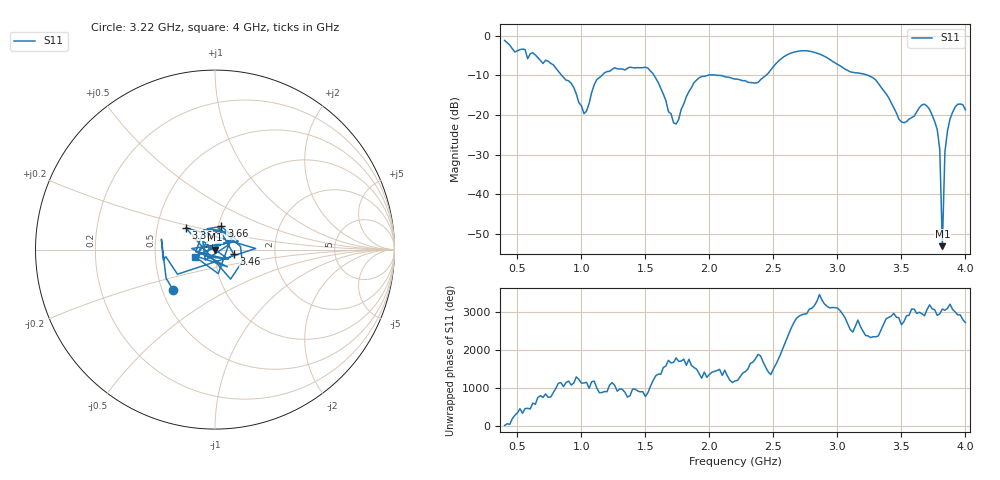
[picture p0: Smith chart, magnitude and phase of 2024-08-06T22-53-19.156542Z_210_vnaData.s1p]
!Created with skrf (http://scikit-rf.org).
# Hz S RI R 50.0
!freq ReS11 ImS11
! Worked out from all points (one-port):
!   181 points, 400 MHz to 4 GHz, reference 50 ohm
!   lowest |S11| = -53.1 dB at 3.82 GHz (marker M1), VSWR 1.00, Z = 49.8 - j0.0605 ohm
!   |S11| at or under -10 dB: 1.568 GHz to 1.988 GHz (420.2 MHz wide, 23.6 % of centre); 2.08 GHz to 2.442 GHz (361.3 MHz wide, 16 % of centre); 3.239 GHz to end of sweep (the widest 3 of 4)
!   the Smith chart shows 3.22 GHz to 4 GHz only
!   S11 on the Smith chart (normalised r, x): 3.22 GHz: 0.57, -0.29; 3.36 GHz: 0.70, +0.18; 3.46 GHz: 1.23, -0.06; 3.66 GHz: 1.04, +0.27; 4 GHz: 0.80, -0.07
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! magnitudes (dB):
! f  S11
! 400 MHz  -1.2
! 860 MHz  -10.5
! 940 MHz  -13.0
! 1.02 GHz  -19.7
! 1.12 GHz  -11.1
! 1.3 GHz  -8.4
! 1.52 GHz  -8.2
! 1.6 GHz  -11.8
! 1.72 GHz  -22.0
! 1.76 GHz  -21.1
! 1.92 GHz  -10.6
! 2.2 GHz  -10.9
! 2.38 GHz  -11.8
! 2.66 GHz  -4.1
! 3.1 GHz  -9.1
! 3.22 GHz  -9.8
! 3.36 GHz  -13.8
! 3.46 GHz  -19.4
! 3.56 GHz  -21.0
! 3.66 GHz  -17.5
! 3.72 GHz  -18.6
! 3.78 GHz  -23.7
! 3.8 GHz  -28.7
! 3.82 GHz  -53.1
! 3.84 GHz  -29.3
! 3.86 GHz  -24.0
! 3.92 GHz  -18.0
! 4 GHz  -18.7
